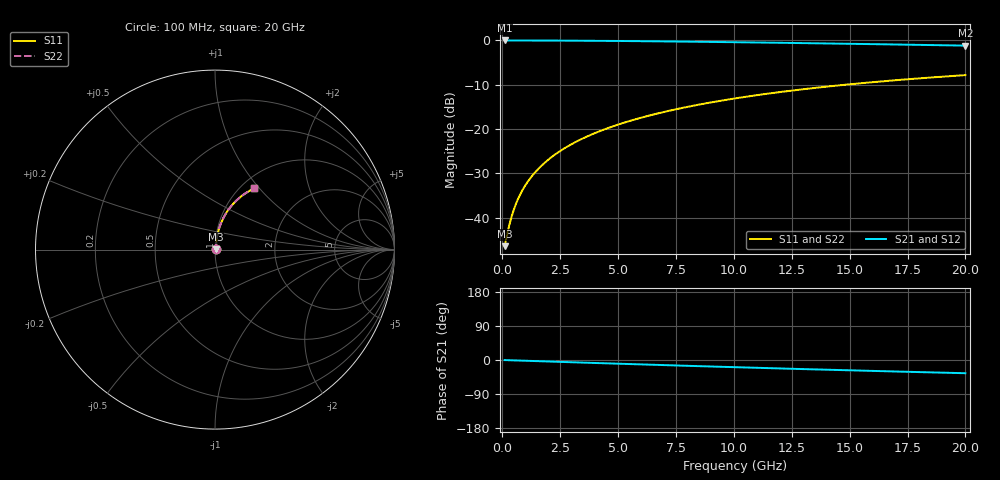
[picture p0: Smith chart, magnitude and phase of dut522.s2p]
! Touchstone file exported from HFSS 2024.1.0
!  File:  C:/UserFiles/LocalFiles/RDL_TSV_Batchsim/temp_RDL_bottom_522_1779688164.aedt
!  Generated:  01:51:46 PM May 25, 2026
!  Design:  RDL_bottom
!  Project:  temp_RDL_bottom_522_1779688164
!  Setup:  Setup1
!  Solution:  Sweep
! Variables:
!  dtsv = 10.80580581um
!  hbump = 3um
!  htsv = 65.64um
!  ldown = 446.82um
!  lrdl = 100um
!  p = 40
!  p1 = 42.88um
!  rhole = 1um
!  t = 450um
!  tdown = 3.31um
!  trdl = 3.915915916um
!  wdown = 11.76um
!  wrdl = 20um
# GHz S MA R 50.000000
! Terminal data exported
! Port[1] = RDL1_T1
! Port[2] = RDL1_T2
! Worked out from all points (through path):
!   200 points, 100 MHz to 20 GHz, reference 50 ohm
!   highest |S21| = -0.04 dB at 100 MHz (marker M1); lowest = -1.2 dB at 20 GHz (marker M2)
!   group delay of S21, straight-line fit = 4.84 ps
!   lowest |S11| = -46.4 dB at 100 MHz (marker M3), VSWR 1.01, Z = 50.4 + j0.236 ohm
!   |S11| at or under -10 dB: start of sweep to 14.86 GHz
!   |S22| runs from -46.4 to -7.9 dB; largest |S21 - S12| = 2.4e-15
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0.1  0.004767 29.4  0.9958 -0.2  0.9958 -0.2  0.004767 29.4
! Gamma 0 0 0 0
! Port Impedance 50 0 50 0
0.3  0.008193 58.2  0.9957 -0.6  0.9957 -0.6  0.008193 58.2
0.4  0.01025 64.4  0.9956 -0.8  0.9956 -0.8  0.01025 64.4
0.5  0.01237 68.4  0.9955 -1.0  0.9955 -1.0  0.01237 68.4
0.6  0.01452 71.2  0.9953 -1.2  0.9953 -1.2  0.01452 71.2
0.7  0.01668 73.2  0.9952 -1.4  0.9952 -1.4  0.01668 73.2
0.9  0.02104 76.0  0.995 -1.8  0.995 -1.8  0.02104 76.0
1.2  0.02762 78.3  0.9945 -2.4  0.9945 -2.4  0.02762 78.3
1.4  0.03203 79.3  0.9942 -2.8  0.9942 -2.8  0.03203 79.3
1.7  0.03867 80.2  0.9937 -3.4  0.9937 -3.4  0.03867 80.2
2.2  0.04977 81.0  0.9926 -4.4  0.9926 -4.4  0.04977 81.0
2.8  0.06312 81.2  0.9911 -5.6  0.9911 -5.6  0.06312 81.2
3.5  0.0787 80.9  0.9888 -6.9  0.9888 -6.9  0.0787 80.9
4.2  0.09427 80.3  0.9862 -8.3  0.9862 -8.3  0.09427 80.4
5  0.112 79.5  0.9826 -9.8  0.9826 -9.8  0.112 79.5
5.9  0.1319 78.4  0.9782 -11.5  0.9782 -11.5  0.1319 78.4
6.8  0.1516 77.2  0.9732 -13.2  0.9732 -13.2  0.1516 77.2
8.3  0.1841 75.0  0.9639 -15.9  0.9639 -15.9  0.1841 75.0
10.1  0.2222 72.3  0.9515 -19.1  0.9515 -19.1  0.2222 72.3
13.4  0.2886 67.2  0.9264 -24.7  0.9264 -24.7  0.2886 67.2
16.7  0.3496 62.2  0.8992 -29.9  0.8992 -29.9  0.3497 62.2
20  0.4048 57.3  0.871 -34.9  0.871 -34.9  0.4049 57.4
